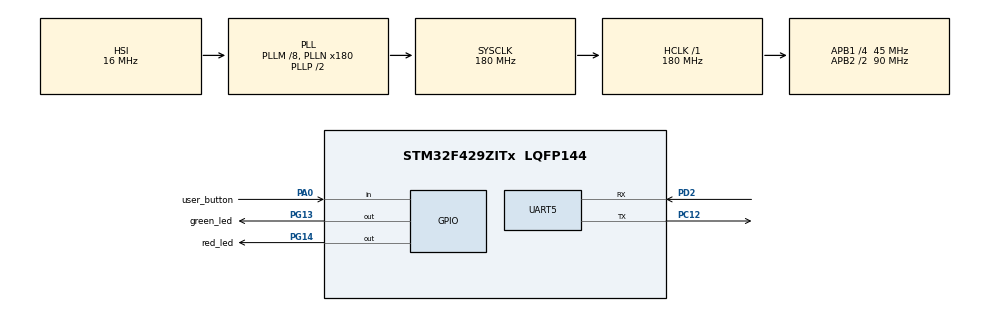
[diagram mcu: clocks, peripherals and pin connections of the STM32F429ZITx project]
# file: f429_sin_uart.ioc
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Mcu.Family=STM32F4
Mcu.Name=STM32F429ZITx
Mcu.Package=LQFP144
NVIC.PriorityGroup=NVIC_PRIORITYGROUP_4
PA0/WKUP.GPIO_Label=user_button
PA0/WKUP.Signal=GPIO_Input
PC12.Mode=Asynchronous
PC12.Signal=UART5_TX
PD2.Mode=Asynchronous
PD2.Signal=UART5_RX
PG13.GPIO_Label=green_led
PG13.Signal=GPIO_Output
PG14.GPIO_Label=red_led
PG14.Signal=GPIO_Output
PH0/OSC_IN.Mode=HSE-External-Oscillator
PH0/OSC_IN.Signal=RCC_OSC_IN
PH1/OSC_OUT.Mode=HSE-External-Oscillator
PH1/OSC_OUT.Signal=RCC_OSC_OUT
ProjectManager.HeapSize=0x200
ProjectManager.StackSize=0x400
ProjectManager.TargetToolchain=MDK-ARM V5.27
RCC.48MHZClocksFreq_Value=90000000
RCC.AHBFreq_Value=180000000
RCC.APB1CLKDivider=RCC_HCLK_DIV4
RCC.APB1Freq_Value=45000000
RCC.APB1TimFreq_Value=90000000
RCC.APB2CLKDivider=RCC_HCLK_DIV2
RCC.APB2Freq_Value=90000000
RCC.APB2TimFreq_Value=180000000
RCC.CortexFreq_Value=180000000
RCC.HCLKFreq_Value=180000000
RCC.HSE_VALUE=8000000
RCC.HSI_VALUE=16000000
RCC.LSE_VALUE=32768
RCC.PLLM=8
RCC.PLLN=180
RCC.SYSCLKFreq_VALUE=180000000
RCC.SYSCLKSource=RCC_SYSCLKSOURCE_PLLCLK
RCC.VCOOutputFreq_Value=360000000
UART5.VirtualMode=Asynchronous
board=custom

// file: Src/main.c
/* USER CODE BEGIN Header */
/**
  ******************************************************************************
  * @file           : main.c
  * @brief          : Main program body
  ******************************************************************************
  * @attention
  *
  * <h2><center>&copy; Copyright (c) 2020 STMicroelectronics.
  * All rights reserved.</center></h2>
  *
  * This software component is licensed by ST under BSD 3-Clause license,
  * the "License"; You may not use this file except in compliance with the
  * License. You may obtain a copy of the License at:
  *                        opensource.org/licenses/BSD-3-Clause
  *
  ******************************************************************************
  */
/* USER CODE END Header */

#include "main.h"

/* USER CODE BEGIN Includes */

#include <stdlib.h>
#include <math.h>
#include <stdio.h>

/* USER CODE END Includes */

/* USER CODE BEGIN PTD */

char tx_buff[50];

double pi = 3.141592;
double sin_value =0;
double wt = 0;

uint8_t count = 1 ;

/* USER CODE END PTD */

UART_HandleTypeDef huart5;

void SystemClock_Config(void);
static void MX_GPIO_Init(void);
static void MX_UART5_Init(void);

int main(void)
{

  /* MCU Configuration--------------------------------------------------------*/

  /* Reset of all peripherals, Initializes the Flash interface and the Systick. */
  HAL_Init();

  /* Configure the system clock */
  SystemClock_Config();

  /* Initialize all configured peripherals */
  MX_GPIO_Init();
  MX_UART5_Init();

  /* Infinite loop */
  while (1)
  {
    /* USER CODE BEGIN 3 */
		sin_value = sin(wt);
		count++;

		if(count == 32)
		{
			count = 1;
		  wt = 0;
   	}
		else
		{
		wt = wt + 2*pi / 31;
		}

	  HAL_UART_Transmit(&huart5, (uint8_t*) &sin_value, 17, 100);

  }
  /* USER CODE END 3 */
}

void SystemClock_Config(void)
{
  RCC_OscInitTypeDef RCC_OscInitStruct = {0};
  RCC_ClkInitTypeDef RCC_ClkInitStruct = {0};

  /** Configure the main internal regulator output voltage
  */
  __HAL_RCC_PWR_CLK_ENABLE();
  __HAL_PWR_VOLTAGESCALING_CONFIG(PWR_REGULATOR_VOLTAGE_SCALE1);
  /** Initializes the CPU, AHB and APB busses clocks
  */
  RCC_OscInitStruct.OscillatorType = RCC_OSCILLATORTYPE_HSI;
  RCC_OscInitStruct.HSIState = RCC_HSI_ON;
  RCC_OscInitStruct.HSICalibrationValue = RCC_HSICALIBRATION_DEFAULT;
  RCC_OscInitStruct.PLL.PLLState = RCC_PLL_ON;
  RCC_OscInitStruct.PLL.PLLSource = RCC_PLLSOURCE_HSI;
  RCC_OscInitStruct.PLL.PLLM = 8;
  RCC_OscInitStruct.PLL.PLLN = 180;
  RCC_OscInitStruct.PLL.PLLP = RCC_PLLP_DIV2;
  RCC_OscInitStruct.PLL.PLLQ = 4;
  if (HAL_RCC_OscConfig(&RCC_OscInitStruct) != HAL_OK)
  {
    Error_Handler();
  }
  /** Activate the Over-Drive mode
  */
  if (HAL_PWREx_EnableOverDrive() != HAL_OK)
  {
    Error_Handler();
  }
  /** Initializes the CPU, AHB and APB busses clocks
  */
  RCC_ClkInitStruct.ClockType = RCC_CLOCKTYPE_HCLK|RCC_CLOCKTYPE_SYSCLK
                              |RCC_CLOCKTYPE_PCLK1|RCC_CLOCKTYPE_PCLK2;
  RCC_ClkInitStruct.SYSCLKSource = RCC_SYSCLKSOURCE_PLLCLK;
  RCC_ClkInitStruct.AHBCLKDivider = RCC_SYSCLK_DIV1;
  RCC_ClkInitStruct.APB1CLKDivider = RCC_HCLK_DIV4;
  RCC_ClkInitStruct.APB2CLKDivider = RCC_HCLK_DIV2;

  if (HAL_RCC_ClockConfig(&RCC_ClkInitStruct, FLASH_LATENCY_5) != HAL_OK)
  {
    Error_Handler();
  }
}

static void MX_UART5_Init(void)
{

  huart5.Instance = UART5;
  huart5.Init.BaudRate = 115200;
  huart5.Init.WordLength = UART_WORDLENGTH_8B;
  huart5.Init.StopBits = UART_STOPBITS_1;
  huart5.Init.Parity = UART_PARITY_NONE;
  huart5.Init.Mode = UART_MODE_TX_RX;
  huart5.Init.HwFlowCtl = UART_HWCONTROL_NONE;
  huart5.Init.OverSampling = UART_OVERSAMPLING_16;
  if (HAL_UART_Init(&huart5) != HAL_OK)
  {
    Error_Handler();
  }

}

static void MX_GPIO_Init(void)
{
  GPIO_InitTypeDef GPIO_InitStruct = {0};

  /* GPIO Ports Clock Enable */
  __HAL_RCC_GPIOH_CLK_ENABLE();
  __HAL_RCC_GPIOA_CLK_ENABLE();
  __HAL_RCC_GPIOC_CLK_ENABLE();
  __HAL_RCC_GPIOD_CLK_ENABLE();
  __HAL_RCC_GPIOG_CLK_ENABLE();

  /*Configure GPIO pin Output Level */
  HAL_GPIO_WritePin(GPIOG, green_led_Pin|red_led_Pin, GPIO_PIN_RESET);

  /*Configure GPIO pin : user_button_Pin */
  GPIO_InitStruct.Pin = user_button_Pin;
  GPIO_InitStruct.Mode = GPIO_MODE_INPUT;
  GPIO_InitStruct.Pull = GPIO_NOPULL;
  HAL_GPIO_Init(user_button_GPIO_Port, &GPIO_InitStruct);

  /*Configure GPIO pins : green_led_Pin red_led_Pin */
  GPIO_InitStruct.Pin = green_led_Pin|red_led_Pin;
  GPIO_InitStruct.Mode = GPIO_MODE_OUTPUT_PP;
  GPIO_InitStruct.Pull = GPIO_NOPULL;
  GPIO_InitStruct.Speed = GPIO_SPEED_FREQ_LOW;
  HAL_GPIO_Init(GPIOG, &GPIO_InitStruct);

}

void Error_Handler(void)
{
}

/************************ (C) COPYRIGHT STMicroelectronics *****END OF FILE****/
